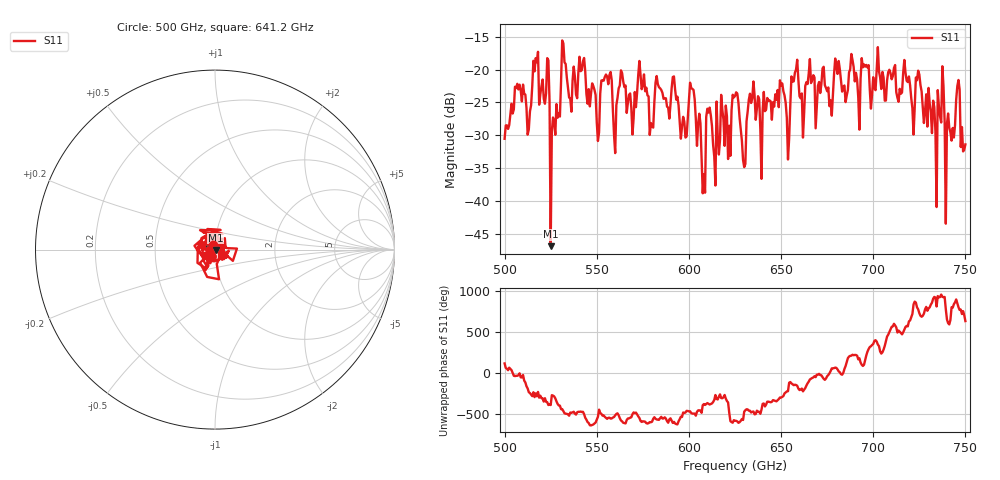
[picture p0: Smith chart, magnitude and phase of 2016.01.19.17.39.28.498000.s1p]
!Created with skrf (http://scikit-rf.org).
# GHz S RI R 50.0
!freq ReS11 ImS11
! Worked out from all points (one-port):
!   401 points, 500 GHz to 750 GHz, reference 50 ohm
!   lowest |S11| = -46.9 dB at 525 GHz (marker M1), VSWR 1.01, Z = 50.4 - j0.247 ohm
!   |S11| at or under -10 dB: start of sweep to end of sweep
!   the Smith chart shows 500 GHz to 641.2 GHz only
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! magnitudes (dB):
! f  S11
! 500 GHz  -30.5
! 506.9 GHz  -22.2
! 513.1 GHz  -29.1
! 516.9 GHz  -18.3
! 523.1 GHz  -18.2
! 525 GHz  -46.9
! 531.2 GHz  -15.6
! 550.6 GHz  -30.9
! 562.5 GHz  -22.4
! 593.8 GHz  -24.1
! 601.9 GHz  -22.9
! 607.5 GHz  -38.8
! 610.6 GHz  -26.5
! 615 GHz  -24.9
! 625 GHz  -24.0
! 629.4 GHz  -33.8
! 633.8 GHz  -25.1
! 640 GHz  -26.2
! 650.6 GHz  -22.1
! 653.8 GHz  -33.7
! 656.2 GHz  -21.8
! 687.5 GHz  -19.9
! 718.8 GHz  -21.9
! 733.1 GHz  -25.7
! 736.9 GHz  -28.1
! 740.6 GHz  -26.7
! 745.6 GHz  -22.5
! 750 GHz  -31.4
